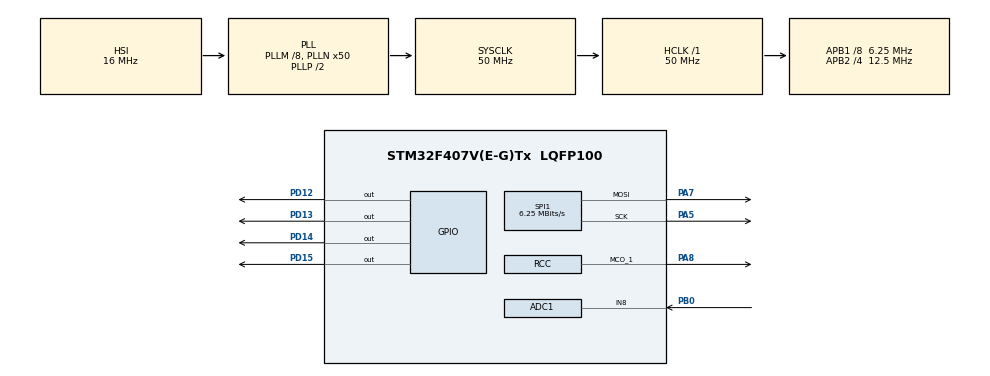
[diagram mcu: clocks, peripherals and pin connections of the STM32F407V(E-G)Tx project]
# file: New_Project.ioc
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ADC1.Channel-6\#ChannelRegularConversion=ADC_CHANNEL_8
ADC1.NbrOfConversionFlag=1
ADC1.Rank-6\#ChannelRegularConversion=1
ADC1.SamplingTime-6\#ChannelRegularConversion=ADC_SAMPLETIME_3CYCLES
ADC1.master=1
Mcu.Family=STM32F4
Mcu.Name=STM32F407V(E-G)Tx
Mcu.Package=LQFP100
NVIC.PriorityGroup=NVIC_PRIORITYGROUP_0
PA13.Mode=Serial_Wire
PA13.Signal=SYS_JTMS-SWDIO
PA14.Mode=Serial_Wire
PA14.Signal=SYS_JTCK-SWCLK
PA5.Mode=TX_Only_Simplex_Unidirect_Master
PA5.Signal=SPI1_SCK
PA7.Mode=TX_Only_Simplex_Unidirect_Master
PA7.Signal=SPI1_MOSI
PA8.Mode=Clock-out-1
PA8.Signal=RCC_MCO_1
PB0.Signal=ADCx_IN8
PD12.Signal=GPIO_Output
PD13.Signal=GPIO_Output
PD14.Signal=GPIO_Output
PD15.Signal=GPIO_Output
PH0-OSC_IN.Mode=HSE-External-Oscillator
PH0-OSC_IN.Signal=RCC_OSC_IN
PH1-OSC_OUT.Mode=HSE-External-Oscillator
PH1-OSC_OUT.Signal=RCC_OSC_OUT
ProjectManager.HeapSize=0x200
ProjectManager.StackSize=0x400
ProjectManager.TargetToolchain=STM32CubeIDE
RCC.48MHZClocksFreq_Value=14285714.285714285
RCC.AHBFreq_Value=50000000
RCC.APB1CLKDivider=RCC_HCLK_DIV8
RCC.APB1Freq_Value=6250000
RCC.APB1TimFreq_Value=12500000
RCC.APB2CLKDivider=RCC_HCLK_DIV4
RCC.APB2Freq_Value=12500000
RCC.APB2TimFreq_Value=25000000
RCC.CortexFreq_Value=50000000
RCC.HCLKFreq_Value=50000000
RCC.HSE_VALUE=8000000
RCC.HSI_VALUE=16000000
RCC.LSE_VALUE=32768
RCC.PLLM=8
RCC.PLLN=50
RCC.PLLQ=7
RCC.SYSCLKFreq_VALUE=50000000
RCC.SYSCLKSource=RCC_SYSCLKSOURCE_PLLCLK
RCC.VCOOutputFreq_Value=100000000
SH.ADCx_IN8.0=ADC1_IN8,IN8
SPI1.CalculateBaudRate=6.25 MBits/s
SPI1.Direction=SPI_DIRECTION_2LINES
SPI1.Mode=SPI_MODE_MASTER
SPI1.VirtualType=VM_MASTER
VP_RTC_VS_RTC_Activate.Mode=RTC_Enabled
board=STM32F407G-DISC1

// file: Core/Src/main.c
/* USER CODE BEGIN Header */
/**
  ******************************************************************************
  * @file           : main.c
  * @brief          : Main program body
  ******************************************************************************
  * @attention
  *
  * <h2><center>&copy; Copyright (c) 2020 STMicroelectronics.
  * All rights reserved.</center></h2>
  *
  * This software component is licensed by ST under Ultimate Liberty license
  * SLA0044, the "License"; You may not use this file except in compliance with
  * the License. You may obtain a copy of the License at:
  *                             www.st.com/SLA0044
  *
  ******************************************************************************
  */
/* USER CODE END Header */
#include "main.h"
#include<stdio.h>

ADC_HandleTypeDef hadc1;

RTC_HandleTypeDef hrtc;

SPI_HandleTypeDef hspi1;

void SystemClock_Config(void);
static void MX_GPIO_Init(void);
static void MX_ADC1_Init(void);
static void MX_RTC_Init(void);
static void MX_SPI1_Init(void);

int main(void)
{
	uint32_t SMOKE;

  /* MCU Configuration--------------------------------------------------------*/

  /* Reset of all peripherals, Initializes the Flash interface and the Systick. */
  HAL_Init();

  /* Configure the system clock */
  SystemClock_Config();

  /* Initialize all configured peripherals */
  MX_GPIO_Init();
  MX_ADC1_Init();
  MX_RTC_Init();
  MX_SPI1_Init();

  /* Infinite loop */
  /* USER CODE BEGIN WHILE */
  HAL_ADC_Start(&hadc1);
  while (1)
  {

	 if( HAL_ADC_PollForConversion(&hadc1, 10000) == HAL_OK)
	 {
	   SMOKE = HAL_ADC_GetValue(&hadc1);
	 }
	  if(SMOKE < 50)
	  {
		//  printf("%ld",SMOKE);
		  HAL_GPIO_WritePin(GPIOD, GPIO_PIN_12, GPIO_PIN_SET);
		  HAL_Delay(1000);
		  HAL_GPIO_WritePin(GPIOD, GPIO_PIN_12, GPIO_PIN_RESET);

	  }
	  else if(SMOKE  >= 50 && SMOKE < 100)
	  {
		  HAL_GPIO_WritePin(GPIOD, GPIO_PIN_13, GPIO_PIN_SET);
		  HAL_Delay(1000);
		  HAL_GPIO_WritePin(GPIOD, GPIO_PIN_13, GPIO_PIN_RESET);
	  }
	  else
	  {
		  HAL_GPIO_WritePin(GPIOD, GPIO_PIN_14, GPIO_PIN_SET);
		  HAL_Delay(1000);
		  HAL_GPIO_WritePin(GPIOD, GPIO_PIN_14, GPIO_PIN_RESET);

	  }
	 // HAL_I2C_Master_Transmit(&hi2c1, (uint8_t*)SMOKE, SMOKE, strlen(msg), HAL_MAX_DELAY);
	 // HAL_I2C_Master_Transmit(hi2c, DevAddress, pData, Size, Timeout)
	  //HAL_SPI_Transmit(&hspi1, SMOKE, 1, HAL_MAX_DELAY);
	  HAL_SPI_Transmit(&hspi1,  &SMOKE, 1,10);

	  HAL_Delay(100);

    /* USER CODE END WHILE */

    /* USER CODE BEGIN 3 */
  }
  return 0;
  /* USER CODE END 3 */
}

void SystemClock_Config(void)
{
  RCC_OscInitTypeDef RCC_OscInitStruct = {0};
  RCC_ClkInitTypeDef RCC_ClkInitStruct = {0};
  RCC_PeriphCLKInitTypeDef PeriphClkInitStruct = {0};

  /** Configure the main internal regulator output voltage
  */
  __HAL_RCC_PWR_CLK_ENABLE();
  __HAL_PWR_VOLTAGESCALING_CONFIG(PWR_REGULATOR_VOLTAGE_SCALE1);
  /** Initializes the RCC Oscillators according to the specified parameters
  * in the RCC_OscInitTypeDef structure.
  */
  RCC_OscInitStruct.OscillatorType = RCC_OSCILLATORTYPE_HSI|RCC_OSCILLATORTYPE_LSI;
  RCC_OscInitStruct.HSIState = RCC_HSI_ON;
  RCC_OscInitStruct.HSICalibrationValue = RCC_HSICALIBRATION_DEFAULT;
  RCC_OscInitStruct.LSIState = RCC_LSI_ON;
  RCC_OscInitStruct.PLL.PLLState = RCC_PLL_ON;
  RCC_OscInitStruct.PLL.PLLSource = RCC_PLLSOURCE_HSI;
  RCC_OscInitStruct.PLL.PLLM = 8;
  RCC_OscInitStruct.PLL.PLLN = 50;
  RCC_OscInitStruct.PLL.PLLP = RCC_PLLP_DIV2;
  RCC_OscInitStruct.PLL.PLLQ = 7;
  if (HAL_RCC_OscConfig(&RCC_OscInitStruct) != HAL_OK)
  {
    Error_Handler();
  }
  /** Initializes the CPU, AHB and APB buses clocks
  */
  RCC_ClkInitStruct.ClockType = RCC_CLOCKTYPE_HCLK|RCC_CLOCKTYPE_SYSCLK
                              |RCC_CLOCKTYPE_PCLK1|RCC_CLOCKTYPE_PCLK2;
  RCC_ClkInitStruct.SYSCLKSource = RCC_SYSCLKSOURCE_PLLCLK;
  RCC_ClkInitStruct.AHBCLKDivider = RCC_SYSCLK_DIV1;
  RCC_ClkInitStruct.APB1CLKDivider = RCC_HCLK_DIV8;
  RCC_ClkInitStruct.APB2CLKDivider = RCC_HCLK_DIV4;

  if (HAL_RCC_ClockConfig(&RCC_ClkInitStruct, FLASH_LATENCY_1) != HAL_OK)
  {
    Error_Handler();
  }
  PeriphClkInitStruct.PeriphClockSelection = RCC_PERIPHCLK_RTC;
  PeriphClkInitStruct.RTCClockSelection = RCC_RTCCLKSOURCE_LSI;
  if (HAL_RCCEx_PeriphCLKConfig(&PeriphClkInitStruct) != HAL_OK)
  {
    Error_Handler();
  }
  HAL_RCC_MCOConfig(RCC_MCO1, RCC_MCO1SOURCE_HSI, RCC_MCODIV_1);
}

static void MX_ADC1_Init(void)
{

  ADC_ChannelConfTypeDef sConfig = {0};

  /** Configure the global features of the ADC (Clock, Resolution, Data Alignment and number of conversion)
  */
  hadc1.Instance = ADC1;
  hadc1.Init.ClockPrescaler = ADC_CLOCK_SYNC_PCLK_DIV2;
  hadc1.Init.Resolution = ADC_RESOLUTION_12B;
  hadc1.Init.ScanConvMode = DISABLE;
  hadc1.Init.ContinuousConvMode = DISABLE;
  hadc1.Init.DiscontinuousConvMode = DISABLE;
  hadc1.Init.ExternalTrigConvEdge = ADC_EXTERNALTRIGCONVEDGE_NONE;
  hadc1.Init.ExternalTrigConv = ADC_SOFTWARE_START;
  hadc1.Init.DataAlign = ADC_DATAALIGN_RIGHT;
  hadc1.Init.NbrOfConversion = 1;
  hadc1.Init.DMAContinuousRequests = DISABLE;
  hadc1.Init.EOCSelection = ADC_EOC_SINGLE_CONV;
  if (HAL_ADC_Init(&hadc1) != HAL_OK)
  {
    Error_Handler();
  }
  /** Configure for the selected ADC regular channel its corresponding rank in the sequencer and its sample time.
  */
  sConfig.Channel = ADC_CHANNEL_8;
  sConfig.Rank = 1;
  sConfig.SamplingTime = ADC_SAMPLETIME_3CYCLES;
  if (HAL_ADC_ConfigChannel(&hadc1, &sConfig) != HAL_OK)
  {
    Error_Handler();
  }

}

static void MX_RTC_Init(void)
{

  /** Initialize RTC Only
  */
  hrtc.Instance = RTC;
  hrtc.Init.HourFormat = RTC_HOURFORMAT_24;
  hrtc.Init.AsynchPrediv = 127;
  hrtc.Init.SynchPrediv = 255;
  hrtc.Init.OutPut = RTC_OUTPUT_DISABLE;
  hrtc.Init.OutPutPolarity = RTC_OUTPUT_POLARITY_HIGH;
  hrtc.Init.OutPutType = RTC_OUTPUT_TYPE_OPENDRAIN;
  if (HAL_RTC_Init(&hrtc) != HAL_OK)
  {
    Error_Handler();
  }

}

static void MX_SPI1_Init(void)
{

  /* SPI1 parameter configuration*/
  hspi1.Instance = SPI1;
  hspi1.Init.Mode = SPI_MODE_MASTER;
  hspi1.Init.Direction = SPI_DIRECTION_2LINES;
  hspi1.Init.DataSize = SPI_DATASIZE_8BIT;
  hspi1.Init.CLKPolarity = SPI_POLARITY_LOW;
  hspi1.Init.CLKPhase = SPI_PHASE_1EDGE;
  hspi1.Init.NSS = SPI_NSS_SOFT;
  hspi1.Init.BaudRatePrescaler = SPI_BAUDRATEPRESCALER_2;
  hspi1.Init.FirstBit = SPI_FIRSTBIT_MSB;
  hspi1.Init.TIMode = SPI_TIMODE_DISABLE;
  hspi1.Init.CRCCalculation = SPI_CRCCALCULATION_DISABLE;
  hspi1.Init.CRCPolynomial = 10;
  if (HAL_SPI_Init(&hspi1) != HAL_OK)
  {
    Error_Handler();
  }

}

static void MX_GPIO_Init(void)
{
  GPIO_InitTypeDef GPIO_InitStruct = {0};

  /* GPIO Ports Clock Enable */
  __HAL_RCC_GPIOH_CLK_ENABLE();
  __HAL_RCC_GPIOA_CLK_ENABLE();
  __HAL_RCC_GPIOB_CLK_ENABLE();
  __HAL_RCC_GPIOD_CLK_ENABLE();

  /*Configure GPIO pin Output Level */
  HAL_GPIO_WritePin(GPIOD, GPIO_PIN_12|GPIO_PIN_13|GPIO_PIN_14|GPIO_PIN_15, GPIO_PIN_RESET);

  /*Configure GPIO pins : PD12 PD13 PD14 PD15 */
  GPIO_InitStruct.Pin = GPIO_PIN_12|GPIO_PIN_13|GPIO_PIN_14|GPIO_PIN_15;
  GPIO_InitStruct.Mode = GPIO_MODE_OUTPUT_PP;
  GPIO_InitStruct.Pull = GPIO_NOPULL;
  GPIO_InitStruct.Speed = GPIO_SPEED_FREQ_LOW;
  HAL_GPIO_Init(GPIOD, &GPIO_InitStruct);

  /*Configure GPIO pin : PA8 */
  GPIO_InitStruct.Pin = GPIO_PIN_8;
  GPIO_InitStruct.Mode = GPIO_MODE_AF_PP;
  GPIO_InitStruct.Pull = GPIO_NOPULL;
  GPIO_InitStruct.Speed = GPIO_SPEED_FREQ_LOW;
  GPIO_InitStruct.Alternate = GPIO_AF0_MCO;
  HAL_GPIO_Init(GPIOA, &GPIO_InitStruct);

}

void Error_Handler(void)
{
  __disable_irq();
  while (1)
  {
  }
}

/************************ (C) COPYRIGHT STMicroelectronics *****END OF FILE****/
